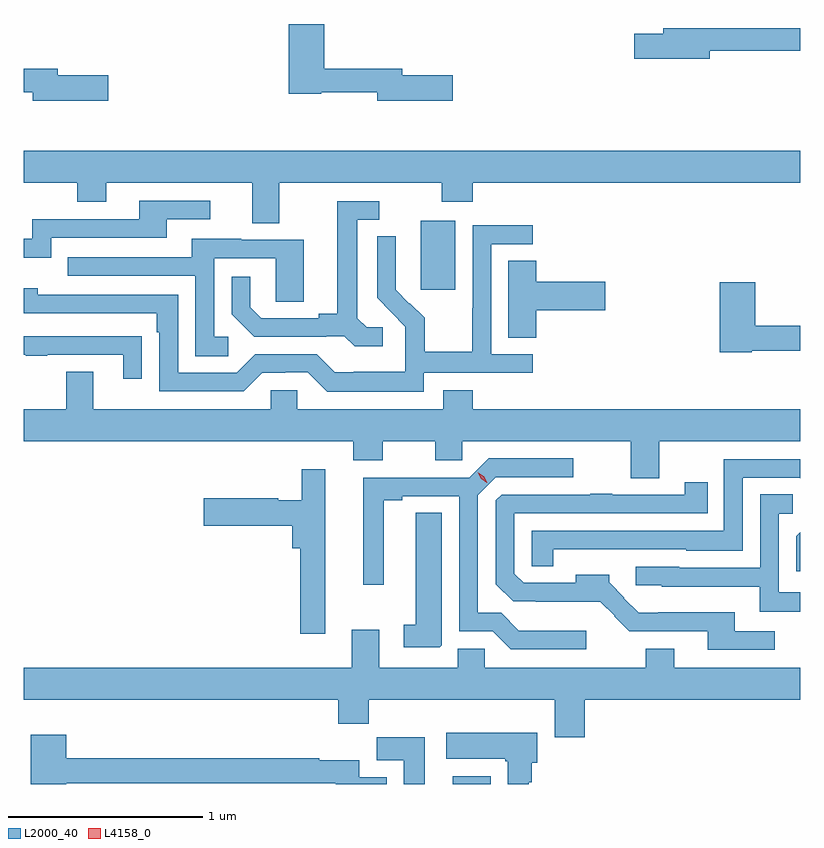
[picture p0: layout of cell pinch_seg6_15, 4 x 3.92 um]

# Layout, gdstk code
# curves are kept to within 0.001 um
import gdstk
lib = gdstk.Library(unit=1e-6, precision=1e-09)
def R(c, l, rs):  # rectangles x0, y0, x1, y1
    for r in rs: c.add(gdstk.rectangle(r[:2], r[2:], *l))
def P(c, l, *ps):  # polygons
    for p in ps: c.add(gdstk.Polygon(p, *l))
L2000_40 = (2000, 40)
L4158_0 = (4158, 0)

pinch_seg6_15 = lib.new_cell('pinch_seg6_15')
R(pinch_seg6_15, L2000_40, [(915.203,992.189,915.4,992.23), (915.038,994.737,915.217,995.092)])
P(pinch_seg6_15, L2000_40, [(915.205,995.841),(914.944,995.841),(914.944,995.875),(914.543,995.875),(914.543,996.106),(914.36,996.106),(914.36,995.746),(914.526,995.746),(914.526,995.754),(914.816,995.754),(914.816,995.711),(915.205,995.711)],
  [(916.528,995.968),(916.994,995.968),(916.994,996.084),(916.289,996.084),(916.289,996.055),(916.14,996.055),(916.14,995.926),(916.528,995.926)],
  [(913.429,995.841),(913.168,995.841),(913.168,995.875),(912.994,995.875),(912.994,995.754),(913.04,995.754),(913.04,995.711),(913.429,995.711)],
  [(914.311,995.288),(915.148,995.288),(915.148,995.189),(915.308,995.189),(915.308,995.288),(916.994,995.288),(916.994,995.452),(912.994,995.452),(912.994,995.288),(913.27,995.288),(913.27,995.189),(913.417,995.189),(913.417,995.288),(914.171,995.288),(914.171,995.08),(914.311,995.08)],
  [(913.134,995.004),(913.729,995.004),(913.729,995.1),(913.954,995.1),(913.954,995.196),(913.589,995.196),(913.589,995.1),(913.038,995.1),(913.038,994.998),(912.994,994.998),(912.994,994.901),(913.134,994.901)],
  [(914.842,994.542),(914.76,994.542),(914.713,994.589),(914.713,995.097),(914.824,995.097),(914.824,995.193),(914.609,995.193),(914.609,994.613),(914.513,994.613),(914.513,994.59),(914.218,994.59),(914.161,994.647),(914.161,994.804),(914.064,994.804),(914.064,994.61),(914.18,994.494),(914.552,994.494),(914.552,994.497),(914.646,994.497),(914.698,994.445),(914.842,994.445)],
  [(915.054,994.308),(915.616,994.308),(915.616,994.404),(915.402,994.404),(915.402,994.971),(915.616,994.971),(915.616,995.07),(915.306,995.07),(915.306,994.64),(915.304,994.64),(915.304,994.417),(915.059,994.417),(915.059,994.591),(914.982,994.668),(914.979,994.665),(914.909,994.736),(914.91,995.012),(914.814,995.012),(914.814,994.694),(914.96,994.546),(914.96,994.449),(914.958,994.449),(914.958,994.315),(914.695,994.315),(914.695,994.311),(914.595,994.311),(914.502,994.404),(914.187,994.404),(914.091,994.308),(913.788,994.308),(913.788,994.71),(913.064,994.71),(913.064,994.744),(912.994,994.744),(912.994,994.614),(913.679,994.614),(913.679,994.517),(913.692,994.517),(913.692,994.212),(914.127,994.212),(914.223,994.308),(914.342,994.308),(914.342,994.311),(914.457,994.311),(914.557,994.211),(915.054,994.211)],
  [(914.047,994.494),(913.974,994.494),(913.974,994.899),(914.292,994.899),(914.292,994.675),(914.437,994.675),(914.437,994.995),(914.113,994.995),(914.113,994.999),(913.859,994.999),(913.859,994.905),(913.219,994.905),(913.219,994.809),(913.878,994.809),(913.878,994.393),(914.047,994.393)],
  [(915.635,994.631),(915.991,994.631),(915.991,994.778),(915.635,994.778),(915.635,994.886),(915.491,994.886),(915.491,994.489),(915.635,994.489)],
  [(916.746,994.422),(916.994,994.422),(916.994,994.55),(916.763,994.55),(916.763,994.774),(916.58,994.774),(916.58,994.414),(916.746,994.414)],
  [(913.601,994.496),(913.499,994.496),(913.499,994.497),(912.994,994.497),(912.994,994.401),(913.003,994.401),(913.003,994.396),(913.115,994.396),(913.115,994.401),(913.505,994.401),(913.505,994.278),(913.601,994.278)],
  [(916.269,993.956),(916.994,993.956),(916.994,994.12),(915.308,994.12),(915.308,994.219),(915.155,994.219),(915.155,994.12),(914.403,994.12),(914.403,994.218),(914.265,994.218),(914.265,994.12),(913.351,994.12),(913.351,994.315),(913.211,994.315),(913.211,994.12),(912.994,994.12),(912.994,993.956),(914.69,993.956),(914.69,993.857),(914.842,993.857),(914.842,993.956),(915.113,993.956),(915.113,993.858),(915.252,993.858),(915.252,993.956),(916.121,993.956),(916.121,993.766),(916.269,993.766)],
  [(915.892,992.98),(915.545,992.98),(915.454,993.071),(915.333,993.071),(915.333,993.678),(915.426,993.771),(915.826,993.771),(915.826,993.867),(915.389,993.867),(915.29,993.768),(914.744,993.768),(914.744,993.216),(914.848,993.216),(914.848,993.652),(914.944,993.652),(914.944,993.672),(915.237,993.672),(915.237,992.976),(915.411,992.976),(915.504,992.883),(915.892,992.883)],
  [(915.721,993.398),(916.407,993.399),(916.407,993.392),(916.698,993.392),(916.698,993.768),(916.992,993.768),(916.994,993.766),(916.994,993.864),(916.602,993.864),(916.602,993.495),(915.612,993.495),(915.612,993.31),(915.721,993.31)],
  [(914.548,993.811),(914.426,993.811),(914.426,993.651),(914.304,993.651),(914.304,993.663),(913.92,993.663),(913.92,993.521),(914.378,993.521),(914.378,993.404),(914.417,993.404),(914.417,992.964),(914.548,992.964)],
  [(916.864,992.976),(916.657,992.976),(916.657,993.073),(916.264,993.073),(916.264,993.071),(916.163,993.071),(916.086,993.147),(916.089,993.15),(916.01,993.229),(916.01,993.268),(915.839,993.268),(915.839,993.225),(915.57,993.225),(915.522,993.273),(915.522,993.585),(916.517,993.585),(916.517,993.745),(916.399,993.745),(916.399,993.681),(916.025,993.681),(916.025,993.686),(915.913,993.686),(915.913,993.681),(915.456,993.681),(915.426,993.651),(915.426,993.219),(915.515,993.13),(915.631,993.13),(915.631,993.128),(915.965,993.129),(916.039,993.055),(916.037,993.053),(916.113,992.976),(916.517,992.976),(916.517,992.88),(916.864,992.88)],
  [(916.994,993.177),(916.884,993.177),(916.884,993.582),(916.957,993.582),(916.957,993.683),(916.788,993.683),(916.788,993.303),(916.371,993.303),(916.371,993.309),(916.146,993.309),(916.146,993.213),(916.281,993.213),(916.281,993.206),(916.787,993.206),(916.787,993.077),(916.994,993.077)],
  [(915.148,992.905),(915.148,993.587),(915.014,993.587),(915.014,993.011),(914.952,993.011),(914.952,992.895),(915.138,992.895)],
  [(916.994,993.486),(916.974,993.466),(916.974,993.285),(916.994,993.285)],
  [(915.884,992.624),(916.994,992.624),(916.994,992.788),(916.345,992.788),(916.345,992.887),(916.198,992.887),(916.198,992.788),(915.369,992.788),(915.369,992.886),(915.23,992.886),(915.23,992.788),(914.824,992.788),(914.824,992.983),(914.684,992.983),(914.684,992.788),(912.994,992.788),(912.994,992.624),(914.615,992.624),(914.615,992.5),(914.771,992.5),(914.771,992.624),(915.731,992.624),(915.731,992.43),(915.884,992.43)],
  [(915.595,992.198),(915.61,992.198),(915.61,992.298),(915.64,992.298),(915.64,992.452),(915.171,992.452),(915.171,992.318),(915.475,992.318),(915.475,992.305),(915.488,992.305),(915.488,992.189),(915.595,992.189)],
  [(913.211,992.194),(914.6,992.194),(914.6,992.189),(914.863,992.189),(914.863,992.224),(914.722,992.224),(914.722,992.312),(914.516,992.312),(914.516,992.323),(913.211,992.323),(913.211,992.443),(913.028,992.443),(913.028,992.189),(913.211,992.189)],
  [(915.061,992.431),(914.812,992.431),(914.812,992.312),(914.951,992.312),(914.951,992.189),(915.061,992.189)])
P(pinch_seg6_15, L4158_0, [(915.38,993.742),(915.35,993.763),(915.334,993.797),(915.334,993.797),(915.334,993.797),(915.365,993.776),(915.381,993.742),(915.381,993.742)])

lib.write_gds('pinch_seg6_15.gds')
